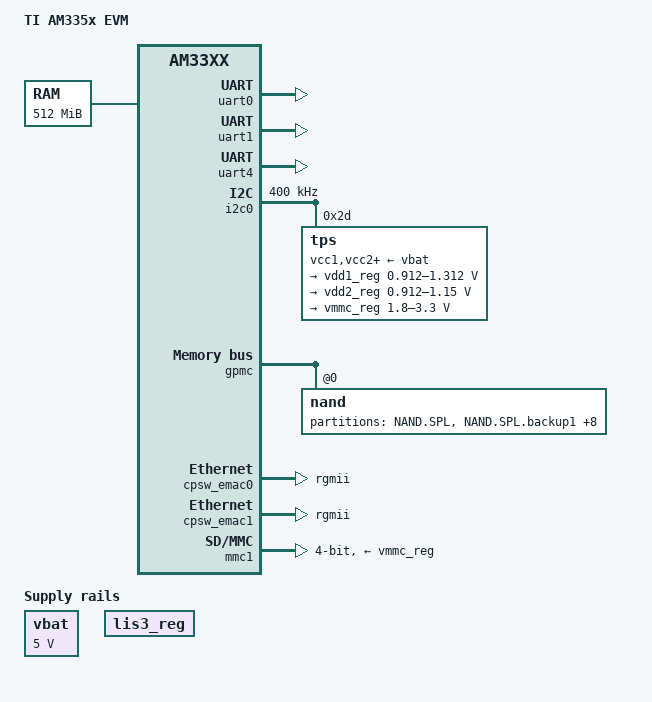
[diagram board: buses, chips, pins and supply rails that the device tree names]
/*
 * Copyright (C) 2012 Texas Instruments Incorporated - http://www.ti.com/
 *
 * This program is free software; you can redistribute it and/or modify
 * it under the terms of the GNU General Public License version 2 as
 * published by the Free Software Foundation.
 */
/dts-v1/;

#include "am33xx.dtsi"

/ {
	model = "TI AM335x EVM";
	compatible = "ti,am335x-evm", "ti,am33xx";

	cpus {
		cpu@0 {
			cpu0-supply = <&vdd1_reg>;
		};
	};

	memory {
		device_type = "memory";
		reg = <0x80000000 0x20000000>; /* 512 MB */
	};

	am33xx_pinmux: pinmux@44e10800 {

		i2c0_pins: pinmux_i2c0_pins {
			pinctrl-single,pins = <
				0x188 (PIN_INPUT_PULLUP | MUX_MODE0)	/* i2c0_sda.i2c0_sda */
				0x18c (PIN_INPUT_PULLUP | MUX_MODE0)	/* i2c0_scl.i2c0_scl */
			>;
		};

		uart0_pins: pinmux_uart0_pins {
			pinctrl-single,pins = <
				0x170 (PIN_INPUT_PULLUP | MUX_MODE0)	/* uart0_rxd.uart0_rxd */
				0x174 (PIN_OUTPUT_PULLDOWN | MUX_MODE0)	/* uart0_txd.uart0_txd */
			>;
		};

		uart1_pins_default: pinmux_uart1_pins_default {
			pinctrl-single,pins = <
				0x178 (PIN_INPUT | MUX_MODE0)			/* uart1_ctsn.uart1_ctsn */
				0x17C (PIN_OUTPUT_PULLDOWN | MUX_MODE0)		/* uart1_rtsn.uart1_rtsn */
				0x180 (PIN_INPUT_PULLUP | MUX_MODE0)		/* uart1_rxd.uart1_rxd */
				0x184 (PIN_OUTPUT_PULLDOWN | MUX_MODE0) 	/* uart1_txd.uart1_txd */
			>;
		};

		uart1_pins_sleep: pinmux_uart1_pins_sleep {
			pinctrl-single,pins = <
				0x178 (PIN_INPUT_PULLDOWN | MUX_MODE7)
				0x17C (PIN_INPUT_PULLDOWN | MUX_MODE7)
				0x180 (PIN_INPUT_PULLDOWN | MUX_MODE7)
				0x184 (PIN_INPUT_PULLDOWN | MUX_MODE7)
			>;
		};

		uart4_pins_default: pinmux_uart4_pins_default {
			pinctrl-single,pins = <
				0x168 (PIN_INPUT_PULLUP | MUX_MODE1)		/* uart0_ctsn.uart4_rxd */
				0x16C (PIN_OUTPUT_PULLDOWN | MUX_MODE0)		/* uart0_rtsn.uart4_txd */
			>;
		};

		uart4_pins_sleep: pinmux_uart4_pins_sleep {
			pinctrl-single,pins = <
				0x168 (PIN_INPUT_PULLDOWN | MUX_MODE7)		/* uart0_ctsn.uart4_rxd */
				0x16C (PIN_INPUT_PULLDOWN | MUX_MODE7)		/* uart0_rtsn.uart4_txd */
			>;
		};		

		gpmc_default: pinmux_gpmc_default {
			pinctrl-single,pins = <
				/* for nand flash */
				0x0  (PIN_INPUT_PULLUP | MUX_MODE0)	/* gpmc_ad0.gpmc_ad0 */
				0x4  (PIN_INPUT_PULLUP | MUX_MODE0)	/* gpmc_ad1.gpmc_ad1 */
				0x8  (PIN_INPUT_PULLUP | MUX_MODE0)	/* gpmc_ad2.gpmc_ad2 */
				0xc  (PIN_INPUT_PULLUP | MUX_MODE0)	/* gpmc_ad3.gpmc_ad3 */
				0x10 (PIN_INPUT_PULLUP | MUX_MODE0)	/* gpmc_ad4.gpmc_ad4 */
				0x14 (PIN_INPUT_PULLUP | MUX_MODE0)	/* gpmc_ad5.gpmc_ad5 */
				0x18 (PIN_INPUT_PULLUP | MUX_MODE0)	/* gpmc_ad6.gpmc_ad6 */
				0x1c (PIN_INPUT_PULLUP | MUX_MODE0)	/* gpmc_ad7.gpmc_ad7 */
				0x70 (PIN_INPUT_PULLUP | MUX_MODE0)	/* gpmc_wait0.gpmc_wait0 */
				0x74 (PIN_INPUT_PULLUP | MUX_MODE7)	/* gpmc_wpn.gpmc_wpn */
				0x7c (PIN_OUTPUT | MUX_MODE0)		/* gpmc_csn0.gpmc_csn0  */
				0x90 (PIN_OUTPUT | MUX_MODE0)		/* gpmc_advn_ale.gpmc_advn_ale */
				0x94 (PIN_OUTPUT | MUX_MODE0)		/* gpmc_oen_ren.gpmc_oen_ren */
				0x98 (PIN_OUTPUT | MUX_MODE0)		/* gpmc_wen.gpmc_wen */
				0x9c (PIN_OUTPUT | MUX_MODE0)		/* gpmc_be0n_cle.gpmc_be0n_cle */
				
				/* for FPGA */
				0x0  (PIN_INPUT_PULLUP | MUX_MODE0)	/* gpmc_ad0.gpmc_ad0 */
				0x4  (PIN_INPUT_PULLUP | MUX_MODE0)	/* gpmc_ad1.gpmc_ad1 */
				0x8  (PIN_INPUT_PULLUP | MUX_MODE0)	/* gpmc_ad2.gpmc_ad2 */
				0xc  (PIN_INPUT_PULLUP | MUX_MODE0)	/* gpmc_ad3.gpmc_ad3 */
				0x10 (PIN_INPUT_PULLUP | MUX_MODE0)	/* gpmc_ad4.gpmc_ad4 */
				0x14 (PIN_INPUT_PULLUP | MUX_MODE0)	/* gpmc_ad5.gpmc_ad5 */
				0x18 (PIN_INPUT_PULLUP | MUX_MODE0)	/* gpmc_ad6.gpmc_ad6 */
				0x1c (PIN_INPUT_PULLUP | MUX_MODE0)	/* gpmc_ad7.gpmc_ad7 */
				0x20  (PIN_INPUT_PULLUP | MUX_MODE0)	/* gpmc_ad8.gpmc_ad8 */
				0x24  (PIN_INPUT_PULLUP | MUX_MODE0)	/* gpmc_ad9.gpmc_ad9 */
				0x28  (PIN_INPUT_PULLUP | MUX_MODE0)	/* gpmc_ad10.gpmc_ad10 */
				0x2c  (PIN_INPUT_PULLUP | MUX_MODE0)	/* gpmc_ad11.gpmc_ad11 */
				0x30 (PIN_INPUT_PULLUP | MUX_MODE0)	/* gpmc_ad12.gpmc_ad12 */
				0x34 (PIN_INPUT_PULLUP | MUX_MODE0)	/* gpmc_ad13.gpmc_ad13 */
				0x38 (PIN_INPUT_PULLUP | MUX_MODE0)	/* gpmc_ad14.gpmc_ad14 */
				0x3c (PIN_INPUT_PULLUP | MUX_MODE0)	/* gpmc_ad15.gpmc_ad15 */

				0xa0 (PULL_DISABLE | MUX_MODE1) /* lcd_data0.gpmc_a0 */
				0xa4 (PULL_DISABLE | MUX_MODE1) /* lcd_data1.gpmc_a1 */
				0xa8 (PULL_DISABLE | MUX_MODE1) /* lcd_data2.gpmc_a2 */
				0xac (PULL_DISABLE | MUX_MODE1) /* lcd_data3.gpmc_a3 */
				0xb0 (PULL_DISABLE | MUX_MODE1) /* lcd_data4.gpmc_a4 */
				0xb4 (PULL_DISABLE | MUX_MODE1) /* lcd_data5.gpmc_a5 */
				0xb8 (PULL_DISABLE | MUX_MODE1) /* lcd_data6.gpmc_a6 */
				0xbc (PULL_DISABLE | MUX_MODE1) /* lcd_data7.gpmc_a7 */

				0xc0 (PULL_DISABLE | MUX_MODE1) /* lcd_data8.gpmc_a12 */
				0xc4 (PULL_DISABLE | MUX_MODE1) /* lcd_data9.gpmc_a13 */
				0xc8 (PULL_DISABLE | MUX_MODE1) /* lcd_data10.gpmc_a14 */
				0xcc (PULL_DISABLE | MUX_MODE1) /* lcd_data11.gpmc_a15 */
				0xd0 (PULL_DISABLE | MUX_MODE1) /* lcd_data12.gpmc_a16 */
				0xd4 (PULL_DISABLE | MUX_MODE1) /* lcd_data13.gpmc_a17 */
				0xd8 (PULL_DISABLE | MUX_MODE1) /* lcd_data14.gpmc_a18 */
				0xdc (PULL_DISABLE | MUX_MODE1) /* lcd_data15.gpmc_a19 */

				0xe0 (PULL_DISABLE | MUX_MODE1) /* lcd_vsync.gpmc_a8 */
				0xe4 (PULL_DISABLE | MUX_MODE1) /* lcd_hsync.gpmc_a9 */
				0xe8 (PULL_DISABLE | MUX_MODE1) /* lcd_pclk.gpmc_a10 */
				0xec (PULL_DISABLE | MUX_MODE1) /* lcd_ac_bias_en.gpmc_a11 */

				0x7c (PULL_DISABLE | MUX_MODE0) /* gpmc_csn0.gpmc_csn0 */
				0x80 (PULL_DISABLE | MUX_MODE0) /* gpmc_csn1.gpmc_csn1 */
				0x84 (PULL_DISABLE | MUX_MODE0) /* gpmc_csn2.gpmc_csn2 */
				0x88 (PULL_DISABLE | MUX_MODE0) /* gpmc_csn3.gpmc_csn3 */

				0x8c (PIN_INPUT_PULLUP | MUX_MODE0) /* gpmc_clk.gpmc_clk */
				0x70 (PIN_INPUT_PULLUP | MUX_MODE0) /* gpmc_wait0.gpmc_wait0 */

				0x9c (PULL_DISABLE | MUX_MODE0) /* gpmc_be0n_cle.gpmc_be0n_cle */

				0x78 (PULL_DISABLE | MUX_MODE0) /* gpmc_be1n.gpmc_be1n */

				/*0x74 (PIN_OUTPUT_PULLUP | MUX_MODE0)*/ /* gpmc_wpn.gpmc_wpn */

				0x90 (PULL_DISABLE | MUX_MODE0) /* gpmc_advn_ale.gpmc_advn_ale */
				0x94 (PULL_DISABLE | MUX_MODE0) /* gpmc_oen_ren.gpmc_oen_ren */
				0x98 (PULL_DISABLE | MUX_MODE0) /* gpmc_wen.gpmc_wen */

				0x164 (PULL_DISABLE | MUX_MODE7) /* ecap0_in_pwm0_out.gpio0_7 */
				0x190 (PULL_DISABLE | MUX_MODE7) /* mcasp0_aclkx.gpio3_14 */
				0x194 (PIN_INPUT_PULLUP | MUX_MODE7) /* mcasp0_fsx.gpio3_15 */
				0x198 (PIN_INPUT_PULLUP | MUX_MODE7) /* mcasp0_axr0.gpio3_16 */
				0x19c (PULL_DISABLE | MUX_MODE7) /* mcasp0_ahclkr.gpio3_17 */
				0x1a0 (PIN_INPUT_PULLUP | MUX_MODE7) /* mcasp0_aclkr.gpio3_18 */
				0x1a4 (PULL_DISABLE | MUX_MODE7) /* mcasp0_fsr.gpio3_19 */
				0x1a8 (PULL_DISABLE | MUX_MODE7) /* mcasp0_axr1.gpio3_20 */
				0x1ac (PULL_DISABLE | MUX_MODE7) /* mcasp0_ahclkx.gpio3_21 */
				0x1b0 (PULL_DISABLE | MUX_MODE7) /* xdma_event_intr0.gpio0_19 */
				0x1b4 (PULL_DISABLE | MUX_MODE7) /* xdma_event_intr1.gpio0_20 */
			>;
		};

		gpmc_sleep: pinmux_gpmc_sleep {
			pinctrl-single,pins = <
				/* for nand flash */
				0x0  (PIN_INPUT_PULLDOWN | MUX_MODE7)	/* gpmc_ad0.gpmc_ad0 */
				0x4  (PIN_INPUT_PULLDOWN | MUX_MODE7)	/* gpmc_ad1.gpmc_ad1 */
				0x8  (PIN_INPUT_PULLDOWN | MUX_MODE7)	/* gpmc_ad2.gpmc_ad2 */
				0xc  (PIN_INPUT_PULLDOWN | MUX_MODE7)	/* gpmc_ad3.gpmc_ad3 */
				0x10 (PIN_INPUT_PULLDOWN | MUX_MODE7)	/* gpmc_ad4.gpmc_ad4 */
				0x14 (PIN_INPUT_PULLDOWN | MUX_MODE7)	/* gpmc_ad5.gpmc_ad5 */
				0x18 (PIN_INPUT_PULLDOWN | MUX_MODE7)	/* gpmc_ad6.gpmc_ad6 */
				0x1c (PIN_INPUT_PULLDOWN | MUX_MODE7)	/* gpmc_ad7.gpmc_ad7 */
				0x70 (PIN_INPUT_PULLDOWN | MUX_MODE7)	/* gpmc_wait0.gpmc_wait0 */
				0x74 (PIN_INPUT_PULLDOWN | MUX_MODE7)	/* gpmc_wpn.gpmc_wpn */
				0x7c (PIN_INPUT_PULLDOWN  | MUX_MODE7)		/* gpmc_csn0.gpmc_csn0  */
				0x90 (PIN_INPUT_PULLDOWN  | MUX_MODE7)		/* gpmc_advn_ale.gpmc_advn_ale */
				0x94 (PIN_INPUT_PULLDOWN  | MUX_MODE7)		/* gpmc_oen_ren.gpmc_oen_ren */
				0x98 (PIN_INPUT_PULLDOWN  | MUX_MODE7)		/* gpmc_wen.gpmc_wen */
				0x9c (PIN_INPUT_PULLDOWN  | MUX_MODE7)		/* gpmc_be0n_cle.gpmc_be0n_cle */
				
				/* for FPGA */
				0x0  (PIN_INPUT_PULLDOWN | MUX_MODE7)	/* gpmc_ad0.gpmc_ad0 */
				0x4  (PIN_INPUT_PULLDOWN | MUX_MODE7)	/* gpmc_ad1.gpmc_ad1 */
				0x8  (PIN_INPUT_PULLDOWN | MUX_MODE7)	/* gpmc_ad2.gpmc_ad2 */
				0xc  (PIN_INPUT_PULLDOWN | MUX_MODE7)	/* gpmc_ad3.gpmc_ad3 */
				0x10 (PIN_INPUT_PULLDOWN | MUX_MODE7)	/* gpmc_ad4.gpmc_ad4 */
				0x14 (PIN_INPUT_PULLDOWN | MUX_MODE7)	/* gpmc_ad5.gpmc_ad5 */
				0x18 (PIN_INPUT_PULLDOWN | MUX_MODE7)	/* gpmc_ad6.gpmc_ad6 */
				0x1c (PIN_INPUT_PULLDOWN | MUX_MODE7)	/* gpmc_ad7.gpmc_ad7 */
				0x20  (PIN_INPUT_PULLDOWN | MUX_MODE7)	/* gpmc_ad8.gpmc_ad8 */
				0x24  (PIN_INPUT_PULLDOWN | MUX_MODE7)	/* gpmc_ad9.gpmc_ad9 */
				0x28  (PIN_INPUT_PULLDOWN | MUX_MODE7)	/* gpmc_ad10.gpmc_ad10 */
				0x2c  (PIN_INPUT_PULLDOWN | MUX_MODE7)	/* gpmc_ad11.gpmc_ad11 */
				0x30 (PIN_INPUT_PULLDOWN | MUX_MODE7)	/* gpmc_ad12.gpmc_ad12 */
				0x34 (PIN_INPUT_PULLDOWN | MUX_MODE7)	/* gpmc_ad13.gpmc_ad13 */
				0x38 (PIN_INPUT_PULLDOWN | MUX_MODE7)	/* gpmc_ad14.gpmc_ad14 */
				0x3c (PIN_INPUT_PULLDOWN | MUX_MODE7)	/* gpmc_ad15.gpmc_ad15 */

				0xa0 (PIN_INPUT_PULLDOWN | MUX_MODE7) /* lcd_data0.gpmc_a0 */
				0xa4 (PIN_INPUT_PULLDOWN | MUX_MODE7) /* lcd_data1.gpmc_a1 */
				0xa8 (PIN_INPUT_PULLDOWN | MUX_MODE7) /* lcd_data2.gpmc_a2 */
				0xac (PIN_INPUT_PULLDOWN | MUX_MODE7) /* lcd_data3.gpmc_a3 */
				0xb0 (PIN_INPUT_PULLDOWN | MUX_MODE7) /* lcd_data4.gpmc_a4 */
				0xb4 (PIN_INPUT_PULLDOWN | MUX_MODE7) /* lcd_data5.gpmc_a5 */
				0xb8 (PIN_INPUT_PULLDOWN | MUX_MODE7) /* lcd_data6.gpmc_a6 */
				0xbc (PIN_INPUT_PULLDOWN | MUX_MODE7) /* lcd_data7.gpmc_a7 */

				0xc0 (PIN_INPUT_PULLDOWN | MUX_MODE7) /* lcd_data8.gpmc_a12 */
				0xc4 (PIN_INPUT_PULLDOWN | MUX_MODE7) /* lcd_data9.gpmc_a13 */
				0xc8 (PIN_INPUT_PULLDOWN | MUX_MODE7) /* lcd_data10.gpmc_a14 */
				0xcc (PIN_INPUT_PULLDOWN | MUX_MODE7) /* lcd_data11.gpmc_a15 */
				0xd0 (PIN_INPUT_PULLDOWN | MUX_MODE7) /* lcd_data12.gpmc_a16 */
				0xd4 (PIN_INPUT_PULLDOWN | MUX_MODE7) /* lcd_data13.gpmc_a17 */
				0xd8 (PIN_INPUT_PULLDOWN | MUX_MODE7) /* lcd_data14.gpmc_a18 */
				0xdc (PIN_INPUT_PULLDOWN | MUX_MODE7) /* lcd_data15.gpmc_a19 */

				0xe0 (PIN_INPUT_PULLDOWN | MUX_MODE7) /* lcd_vsync.gpmc_a8 */
				0xe4 (PIN_INPUT_PULLDOWN | MUX_MODE7) /* lcd_hsync.gpmc_a9 */
				0xe8 (PIN_INPUT_PULLDOWN | MUX_MODE7) /* lcd_pclk.gpmc_a10 */
				0xec (PIN_INPUT_PULLDOWN | MUX_MODE7) /* lcd_ac_bias_en.gpmc_a11 */

				0x7c (PIN_INPUT_PULLDOWN | MUX_MODE7) /* gpmc_csn0.gpmc_csn0 */
				0x80 (PIN_INPUT_PULLDOWN | MUX_MODE7) /* gpmc_csn1.gpmc_csn1 */
				0x84 (PIN_INPUT_PULLDOWN | MUX_MODE7) /* gpmc_csn2.gpmc_csn2 */
				0x88 (PIN_INPUT_PULLDOWN | MUX_MODE7) /* gpmc_csn3.gpmc_csn3 */

				0x8c (PIN_INPUT_PULLDOWN | MUX_MODE7) /* gpmc_clk.gpmc_clk */
				0x70 (PIN_INPUT_PULLDOWN | MUX_MODE7) /* gpmc_wait0.gpmc_wait0 */

				0x9c (PIN_INPUT_PULLDOWN | MUX_MODE7) /* gpmc_be0n_cle.gpmc_be0n_cle */

				0x78 (PIN_INPUT_PULLDOWN | MUX_MODE7) /* gpmc_be1n.gpmc_be1n */

				/*0x74 (PIN_INPUT_PULLDOWN | MUX_MODE7)*/ /* gpmc_wpn.gpmc_wpn */

				0x90 (PIN_INPUT_PULLDOWN | MUX_MODE7) /* gpmc_advn_ale.gpmc_advn_ale */
				0x94 (PIN_INPUT_PULLDOWN | MUX_MODE7) /* gpmc_oen_ren.gpmc_oen_ren */
				0x98 (PIN_INPUT_PULLDOWN | MUX_MODE7) /* gpmc_wen.gpmc_wen */

				0x164 (PIN_INPUT_PULLDOWN | MUX_MODE7) /* ecap0_in_pwm0_out.gpio0_7 */
				0x190 (PIN_INPUT_PULLDOWN | MUX_MODE7) /* mcasp0_aclkx.gpio3_14 */
				0x194 (PIN_INPUT_PULLDOWN | MUX_MODE7) /* mcasp0_fsx.gpio3_15 */
				0x198 (PIN_INPUT_PULLDOWN | MUX_MODE7) /* mcasp0_axr0.gpio3_16 */
				0x19c (PIN_INPUT_PULLDOWN | MUX_MODE7) /* mcasp0_ahclkr.gpio3_17 */
				0x1a0 (PIN_INPUT_PULLDOWN | MUX_MODE7) /* mcasp0_aclkr.gpio3_18 */
				0x1a4 (PIN_INPUT_PULLDOWN | MUX_MODE7) /* mcasp0_fsr.gpio3_19 */
				0x1a8 (PIN_INPUT_PULLDOWN | MUX_MODE7) /* mcasp0_axr1.gpio3_20 */
				0x1ac (PIN_INPUT_PULLDOWN | MUX_MODE7) /* mcasp0_ahclkx.gpio3_21 */
				0x1b0 (PIN_INPUT_PULLDOWN | MUX_MODE7) /* xdma_event_intr0.gpio0_19 */
				0x1b4 (PIN_INPUT_PULLDOWN | MUX_MODE7) /* xdma_event_intr1.gpio0_20 */
			>;
		};

		cpsw_default: cpsw_default {
			pinctrl-single,pins = <
				/* Slave 1 */
				0x114 (PIN_OUTPUT_PULLDOWN | MUX_MODE2)	/* mii1_txen.rgmii1_tctl */
				0x118 (PIN_INPUT_PULLDOWN | MUX_MODE2)	/* mii1_rxdv.rgmii1_rctl */
				0x11c (PIN_OUTPUT_PULLDOWN | MUX_MODE2)	/* mii1_txd3.rgmii1_td3 */
				0x120 (PIN_OUTPUT_PULLDOWN | MUX_MODE2)	/* mii1_txd2.rgmii1_td2 */
				0x124 (PIN_OUTPUT_PULLDOWN | MUX_MODE2)	/* mii1_txd1.rgmii1_td1 */
				0x128 (PIN_OUTPUT_PULLDOWN | MUX_MODE2)	/* mii1_txd0.rgmii1_td0 */
				0x12c (PIN_OUTPUT_PULLDOWN | MUX_MODE2)	/* mii1_txclk.rgmii1_tclk */
				0x130 (PIN_INPUT_PULLDOWN | MUX_MODE2)	/* mii1_rxclk.rgmii1_rclk */
				0x134 (PIN_INPUT_PULLDOWN | MUX_MODE2)	/* mii1_rxd3.rgmii1_rd3 */
				0x138 (PIN_INPUT_PULLDOWN | MUX_MODE2)	/* mii1_rxd2.rgmii1_rd2 */
				0x13c (PIN_INPUT_PULLDOWN | MUX_MODE2)	/* mii1_rxd1.rgmii1_rd1 */
				0x140 (PIN_INPUT_PULLDOWN | MUX_MODE2)	/* mii1_rxd0.rgmii1_rd0 */

				/* Slave 2 */
				0x40 (PIN_OUTPUT_PULLDOWN | MUX_MODE2)	/* gpmc_a0.rgmii2_tctl */
				0x44 (PIN_INPUT_PULLDOWN | MUX_MODE2)	/* gpmc_a1.rgmii2_rctl */
				0x48 (PIN_OUTPUT_PULLDOWN | MUX_MODE2)	/* gpmc_a2.rgmii2_td3 */
				0x4c (PIN_OUTPUT_PULLDOWN | MUX_MODE2)	/* gpmc_a3.rgmii2_td2 */
				0x50 (PIN_OUTPUT_PULLDOWN | MUX_MODE2)	/* gpmc_a4.rgmii2_td1 */
				0x54 (PIN_OUTPUT_PULLDOWN | MUX_MODE2)	/* gpmc_a5.rgmii2_td0 */
				0x58 (PIN_OUTPUT_PULLDOWN | MUX_MODE2)	/* gpmc_a6.rgmii2_tclk */
				0x5c (PIN_INPUT_PULLDOWN | MUX_MODE2)	/* gpmc_a7.rgmii2_rclk */
				0x60 (PIN_INPUT_PULLDOWN | MUX_MODE2)	/* gpmc_a8.rgmii2_rd3 */
				0x64 (PIN_INPUT_PULLDOWN | MUX_MODE2)	/* gpmc_a9.rgmii2_rd2 */
				0x68 (PIN_INPUT_PULLDOWN | MUX_MODE2)	/* gpmc_a10.rgmii2_rd1 */
				0x6c (PIN_INPUT_PULLDOWN | MUX_MODE2)	/* gpmc_a11.rgmii2_rd0 */
			>;
		};

		cpsw_sleep: cpsw_sleep {
			pinctrl-single,pins = <
				/* Slave 1 reset value */
				0x114 (PIN_INPUT_PULLDOWN | MUX_MODE7)
				0x118 (PIN_INPUT_PULLDOWN | MUX_MODE7)
				0x11c (PIN_INPUT_PULLDOWN | MUX_MODE7)
				0x120 (PIN_INPUT_PULLDOWN | MUX_MODE7)
				0x124 (PIN_INPUT_PULLDOWN | MUX_MODE7)
				0x128 (PIN_INPUT_PULLDOWN | MUX_MODE7)
				0x12c (PIN_INPUT_PULLDOWN | MUX_MODE7)
				0x130 (PIN_INPUT_PULLDOWN | MUX_MODE7)
				0x134 (PIN_INPUT_PULLDOWN | MUX_MODE7)
				0x138 (PIN_INPUT_PULLDOWN | MUX_MODE7)
				0x13c (PIN_INPUT_PULLDOWN | MUX_MODE7)
				0x140 (PIN_INPUT_PULLDOWN | MUX_MODE7)

				/* Slave 2 reset value*/
				0x40 (PIN_INPUT_PULLDOWN | MUX_MODE7)
				0x44 (PIN_INPUT_PULLDOWN | MUX_MODE7)
				0x48 (PIN_INPUT_PULLDOWN | MUX_MODE7)
				0x4c (PIN_INPUT_PULLDOWN | MUX_MODE7)
				0x50 (PIN_INPUT_PULLDOWN | MUX_MODE7)
				0x54 (PIN_INPUT_PULLDOWN | MUX_MODE7)
				0x58 (PIN_INPUT_PULLDOWN | MUX_MODE7)
				0x5c (PIN_INPUT_PULLDOWN | MUX_MODE7)
				0x60 (PIN_INPUT_PULLDOWN | MUX_MODE7)
				0x64 (PIN_INPUT_PULLDOWN | MUX_MODE7)
				0x68 (PIN_INPUT_PULLDOWN | MUX_MODE7)
				0x6c (PIN_INPUT_PULLDOWN | MUX_MODE7)
			>;
		};

		davinci_mdio_default: davinci_mdio_default {
			pinctrl-single,pins = <
				/* MDIO */
				0x148 (PIN_INPUT_PULLUP | SLEWCTRL_FAST | MUX_MODE0)	/* mdio_data.mdio_data */
				0x14c (PIN_OUTPUT_PULLUP | MUX_MODE0)			/* mdio_clk.mdio_clk */
			>;
		};

		davinci_mdio_sleep: davinci_mdio_sleep {
			pinctrl-single,pins = <
				/* MDIO reset value */
				0x148 (PIN_INPUT_PULLDOWN | MUX_MODE7)
				0x14c (PIN_INPUT_PULLDOWN | MUX_MODE7)
			>;
		};
	};

	ocp {
		uart0: serial@44e09000 {
			pinctrl-names = "default";
			pinctrl-0 = <&uart0_pins>;

			status = "okay";
		};

		uart1: serial@48022000 {
			pinctrl-names = "default", "sleep";
			pinctrl-0 = <&uart1_pins_default>;
			pinctrl-1 = <&uart1_pins_sleep>;

			status = "okay";
		};

		uart4: serial@481a8000 {
			pinctrl-names = "default", "sleep";
			pinctrl-0 = <&uart4_pins_default>;
			pinctrl-1 = <&uart4_pins_sleep>;

			status = "okay";
		};

		i2c0: i2c@44e0b000 {
			pinctrl-names = "default";
			pinctrl-0 = <&i2c0_pins>;

			status = "okay";
			clock-frequency = <400000>;

			tps: tps@2d {
				reg = <0x2d>;
			};
		};

		elm: elm@48080000 {
			status = "okay";
		};

		gpmc: gpmc@50000000 {
			status = "okay";
			pinctrl-names = "default", "sleep";
			pinctrl-0 = <&gpmc_default>;
			pinctrl-1 = <&gpmc_sleep>;
			ranges = <0 0 0x08000000 0x10000000>;	/* CS0: NAND */
			nand@0,0 {
				reg = <0 0 0>; /* CS0, offset 0 */
				nand-bus-width = <8>;
				gpmc,device-width = <1>;
				gpmc,sync-clk-ps = <0>;
				gpmc,cs-on-ns = <0>;
				gpmc,cs-rd-off-ns = <44>;
				gpmc,cs-wr-off-ns = <44>;
				gpmc,adv-on-ns = <6>;
				gpmc,adv-rd-off-ns = <34>;
				gpmc,adv-wr-off-ns = <44>;
				gpmc,we-on-ns = <0>;
				gpmc,we-off-ns = <40>;
				gpmc,oe-on-ns = <0>;
				gpmc,oe-off-ns = <54>;
				gpmc,access-ns = <64>;
				gpmc,rd-cycle-ns = <82>;
				gpmc,wr-cycle-ns = <82>;
				gpmc,wait-on-read = "true";
				gpmc,wait-on-write = "true";
				gpmc,bus-turnaround-ns = <0>;
				gpmc,cycle2cycle-delay-ns = <0>;
				gpmc,clk-activation-ns = <0>;
				gpmc,wait-monitoring-ns = <0>;
				gpmc,wr-access-ns = <40>;
				gpmc,wr-data-mux-bus-ns = <0>;
				ti,nand-ecc-opt= "bch8";
				ti,elm-id = <&elm>;
				/* MTD partition table */
		                /* All SPL-* partitions are sized to minimal length
				 * which can be independently programmable. For
				 * NAND flash this is equal to size of erase-block */
				#address-cells = <1>;
				#size-cells = <1>;
				partition@0 {
					label = "NAND.SPL";
					reg = <0x00000000 0x000020000>;
				};
				partition@1 {
					label = "NAND.SPL.backup1";
					reg = <0x00020000 0x00020000>;
				};
				partition@2 {
					label = "NAND.SPL.backup2";
					reg = <0x00040000 0x00020000>;
				};
				partition@3 {
					label = "NAND.SPL.backup3";
					reg = <0x00060000 0x00020000>;
				};
				partition@4 {
					label = "NAND.u-boot-spl-os";
					reg = <0x00080000 0x00040000>;
				};
				partition@5 {
					label = "NAND.u-boot";
					reg = <0x000C0000 0x00100000>;
				};
				partition@6 {
					label = "NAND.u-boot-env";
					reg = <0x001C0000 0x00020000>;
				};
				partition@7 {
					label = "NAND.u-boot-env.backup1";
					reg = <0x001E0000 0x00020000>;
				};
				partition@8 {
					label = "NAND.kernel";
					reg = <0x00200000 0x00800000>;
				};
				partition@9 {
					label = "NAND.file-system";
					reg = <0x00A00000 0x0F600000>;
				};
			};
		};
	};

	vbat: fixedregulator@0 {
		compatible = "regulator-fixed";
		regulator-name = "vbat";
		regulator-min-microvolt = <5000000>;
		regulator-max-microvolt = <5000000>;
		regulator-boot-on;
	};

	lis3_reg: fixedregulator@1 {
		compatible = "regulator-fixed";
		regulator-name = "lis3_reg";
		regulator-boot-on;
	};
};

#include "tps65910.dtsi"

&tps {
	vcc1-supply = <&vbat>;
	vcc2-supply = <&vbat>;
	vcc3-supply = <&vbat>;
	vcc4-supply = <&vbat>;
	vcc5-supply = <&vbat>;
	vcc6-supply = <&vbat>;
	vcc7-supply = <&vbat>;
	vccio-supply = <&vbat>;

	regulators {
		vrtc_reg: regulator@0 {
			regulator-always-on;
		};

		vio_reg: regulator@1 {
			regulator-always-on;
		};

		vdd1_reg: regulator@2 {
			/* VDD_MPU voltage limits 0.95V - 1.26V with +/-4% tolerance */
			regulator-name = "vdd_mpu";
			regulator-min-microvolt = <912500>;
			regulator-max-microvolt = <1312500>;
			regulator-boot-on;
			regulator-always-on;
		};

		vdd2_reg: regulator@3 {
			/* VDD_CORE voltage limits 0.95V - 1.1V with +/-4% tolerance */
			regulator-name = "vdd_core";
			regulator-min-microvolt = <912500>;
			regulator-max-microvolt = <1150000>;
			regulator-boot-on;
			regulator-always-on;
		};

		vdd3_reg: regulator@4 {
			regulator-always-on;
		};

		vdig1_reg: regulator@5 {
			regulator-always-on;
		};

		vdig2_reg: regulator@6 {
			regulator-always-on;
		};

		vpll_reg: regulator@7 {
			regulator-always-on;
		};

		vdac_reg: regulator@8 {
			regulator-always-on;
		};

		vaux1_reg: regulator@9 {
			regulator-always-on;
		};

		vaux2_reg: regulator@10 {
			regulator-always-on;
		};

		vaux33_reg: regulator@11 {
			regulator-always-on;
		};

		vmmc_reg: regulator@12 {
			regulator-min-microvolt = <1800000>;
			regulator-max-microvolt = <3300000>;
			regulator-always-on;
		};
	};
};

&mac {
	pinctrl-names = "default", "sleep";
	pinctrl-0 = <&cpsw_default>;
	pinctrl-1 = <&cpsw_sleep>;
	dual_emac;
};

&davinci_mdio {
	pinctrl-names = "default", "sleep";
	pinctrl-0 = <&davinci_mdio_default>;
	pinctrl-1 = <&davinci_mdio_sleep>;
};

&cpsw_emac0 {
	phy_id = <&davinci_mdio>, <1>;
	phy-mode = "rgmii";
};

&cpsw_emac1 {
	phy_id = <&davinci_mdio>, <2>;
	phy-mode = "rgmii";
};

&mmc1 {
	status = "okay";
	vmmc-supply = <&vmmc_reg>;
	bus-width = <4>;
};


